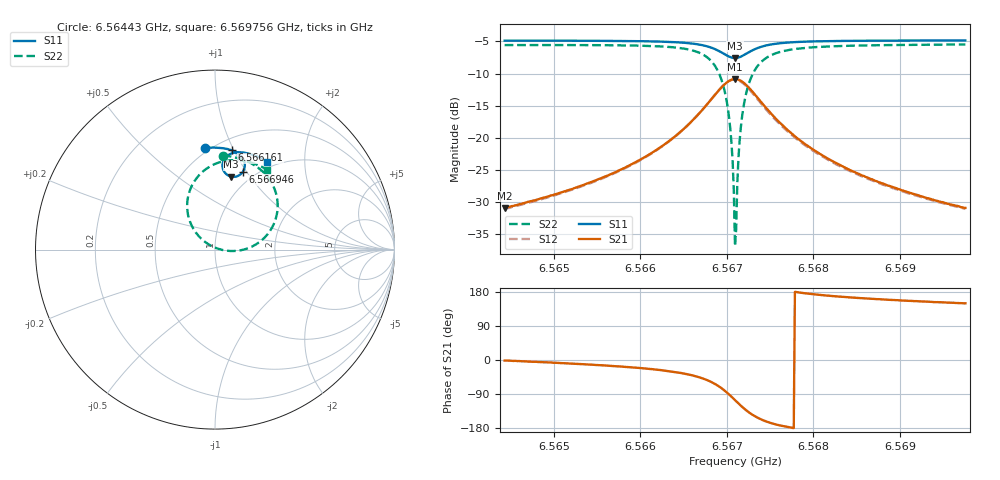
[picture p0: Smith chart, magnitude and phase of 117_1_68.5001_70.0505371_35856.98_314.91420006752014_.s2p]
#  HZ  S  RI  R  50.00
! Rohde & Schwarz Vector Network Analyzer
! Rohde-Schwarz,ZNB20-2Port,1311601062101988,3.16
! Created: UTC 3/20/2024, 5:08:57 PM
! freq[Hz]  re:S11  im:S11  re:S21  im:S21  re:S12  im:S12  re:S22  im:S22
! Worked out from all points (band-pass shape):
!   401 points, 6.56443 GHz to 6.569756 GHz, reference 50 ohm
!   highest |S21| = -10.86 dB at 6.567093 GHz (marker M1); lowest = -30.9 dB at 6.56443 GHz (marker M2)
!   |S21| within 3 dB of the highest: 6.566827 GHz to 6.56736 GHz (532.1 kHz wide, 0.0081 % of centre)
!   lowest |S11| = -7.6 dB at 6.567093 GHz (marker M3), VSWR 2.43, Z = 41.6 + j40.9 ohm
!   |S11| at or under -10 dB: nowhere
!   |S22| runs from -36.8 to -5.5 dB; largest |S21 - S12| = 0.014
!   S11 on the Smith chart (normalised r, x): 6.56443 GHz: 0.47, +0.79; 6.566161 GHz: 0.61, +0.98; 6.566946 GHz: 0.88, +0.95; 6.569756 GHz: 0.91, +1.32
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6.56443e9  -0.0572 0.5661  0.0285 -0.000723  0.0281 -0.00116  0.0426 0.5238
6.5653221e9  0.0161 0.5677  0.0419 -0.00816  0.0412 -0.00869  0.1281 0.5098
6.5661608e9  0.0951 0.5527  0.0715 -0.0332  0.0704 -0.0338  0.2392 0.457
6.5662141e9  0.1008 0.5506  0.0746 -0.0366  0.0734 -0.0375  0.2486 0.4501
6.5665203e9  0.1365 0.5294  0.0969 -0.0721  0.0954 -0.0734  0.3105 0.3802
6.5667333e9  0.1609 0.4961  0.1101 -0.1302  0.1074 -0.1327  0.348 0.2684
6.5668531e9  0.1658 0.463  0.0992 -0.188  0.0945 -0.1915  0.3337 0.1579
6.5669463e9  0.1534 0.4308  0.0606 -0.2431  0.0523 -0.246  0.2638 0.0551
6.5669863e9  0.141 0.4181  0.031 -0.2638  0.0209 -0.2652  0.2091 0.0183
6.5670262e9  0.1241 0.4089  -0.00637 -0.2775  -0.0181 -0.2767  0.1406 -0.00438
6.5670529e9  0.111 0.4059  -0.0344 -0.2807  -0.0467 -0.2781  0.0897 -0.00802
6.5670795e9  0.0971 0.4057  -0.0636 -0.2785  -0.0758 -0.2738  0.0381 -0.0014
6.5670928e9  0.0902 0.4067  -0.0781 -0.2754  -0.0899 -0.2694  0.013 0.00623
6.5671194e9  0.077 0.4113  -0.1054 -0.2647  -0.1164 -0.2566  -0.034 0.0284
6.5671461e9  0.0653 0.4185  -0.1297 -0.249  -0.1392 -0.2393  -0.0746 0.0588
6.567186e9  0.0521 0.4331  -0.1581 -0.2194  -0.1648 -0.2081  -0.1198 0.1148
6.5672392e9  0.0427 0.4552  -0.1799 -0.1753  -0.1829 -0.1639  -0.1506 0.1946
6.5673058e9  0.0426 0.481  -0.1859 -0.1249  -0.1856 -0.1148  -0.1521 0.2831
6.5675455e9  0.0801 0.5302  -0.1428 -0.0281  -0.1396 -0.0237  -0.0543 0.4459
6.5679848e9  0.1433 0.5422  -0.0816 0.0087  -0.0797 0.00997  0.0835 0.4976
6.5688768e9  0.227 0.5219  -0.0395 0.0153  -0.0387 0.0155  0.214 0.4803
6.5697555e9  0.2921 0.4903  -0.0247 0.0145  -0.024 0.0146  0.2916 0.4446
